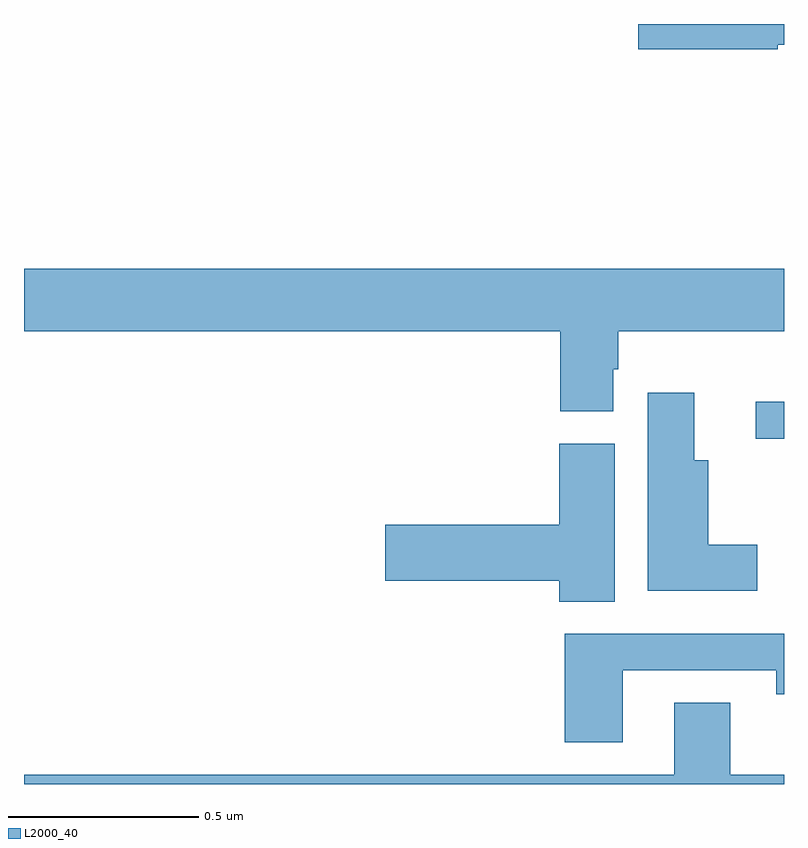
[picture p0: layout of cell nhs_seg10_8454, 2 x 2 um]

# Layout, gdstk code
import gdstk
lib = gdstk.Library(unit=1e-6, precision=1e-09)
def R(c, l, rs):  # rectangles x0, y0, x1, y1
    for r in rs: c.add(gdstk.rectangle(r[:2], r[2:], *l))
def P(c, l, *ps):  # polygons
    for p in ps: c.add(gdstk.Polygon(p, *l))
L2000_40 = (2000, 40)

nhs_seg10_8454 = lib.new_cell('nhs_seg10_8454')
R(nhs_seg10_8454, L2000_40, [(218.925,1257.408,219,1257.506)])
P(nhs_seg10_8454, L2000_40, [(218.984,1258.445),(219,1258.445),(219,1258.5),(218.616,1258.5),(218.616,1258.433),(218.984,1258.433)],
  [(218.551,1257.591),(218.564,1257.591),(218.564,1257.692),(219,1257.692),(219,1257.856),(217,1257.856),(217,1257.692),(218.411,1257.692),(218.411,1257.481),(218.551,1257.481)],
  [(218.929,1257.13),(218.8,1257.13),(218.8,1257.352),(218.764,1257.352),(218.764,1257.529),(218.642,1257.529),(218.642,1257.008),(218.929,1257.008)],
  [(218.554,1257.396),(218.408,1257.396),(218.408,1257.182),(217.95,1257.182),(217.95,1257.035),(218.408,1257.035),(218.408,1256.98),(218.554,1256.98)],
  [(218.575,1256.799),(218.98,1256.799),(218.98,1256.736),(219,1256.736),(219,1256.895),(218.423,1256.895),(218.423,1256.61),(218.575,1256.61)],
  [(219,1256.524),(218.859,1256.524),(218.859,1256.714),(218.711,1256.714),(218.711,1256.524),(217,1256.524),(217,1256.5),(219,1256.5)])

lib.write_gds('nhs_seg10_8454.gds')
